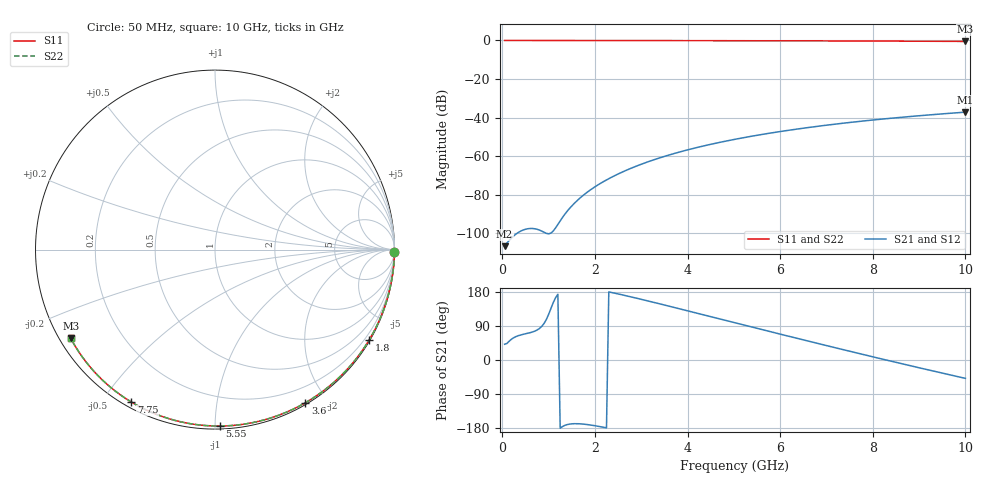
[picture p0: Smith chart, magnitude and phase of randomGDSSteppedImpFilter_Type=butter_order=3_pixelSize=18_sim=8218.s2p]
! freq	dB(S11)	phase(S11)	dB(S12)	phase(S12)
!  dB(S21)	phase(S21)	dB(S22)	phase(S22)
!S-par simulation data
#  GHz  S  DB  R 50
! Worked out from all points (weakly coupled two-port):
!   200 points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, 50 MHz to 10 GHz, reference 50 ohm
!   highest |S21| = -37.20 dB at 10 GHz (marker M1); lowest = -106.8 dB at 50 MHz (marker M2)
!   lowest |S11| = -0.5 dB at 10 GHz (marker M3), VSWR 34.47, Z = 1.57 - j14.1 ohm
!   |S11| at or under -10 dB: nowhere
!   |S22| runs from -0.5 to 0.0 dB; largest |S21 - S12| = 0
!   S11 on the Smith chart (normalised r, x): 50 MHz: open; 1.8 GHz: 0.03, -3.67; 3.6 GHz: 0.02, -1.75; 5.55 GHz: 0.02, -1.03; 7.75 GHz: 0.02, -0.59; 10 GHz: 0.03, -0.28
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0.05  -0.00 -0.9  -106.76 41.6  -106.76 41.6  -0.00 -0.9
0.45  -0.01 -7.7  -98.38 67.7  -98.38 67.7  -0.01 -7.7
0.9  -0.02 -15.4  -99.54 96.0  -99.54 96.0  -0.02 -15.4
1.3  -0.03 -22.1  -91.85 -175.6  -91.85 -175.6  -0.03 -22.1
1.75  -0.04 -29.7  -80.31 -169.2  -80.31 -169.2  -0.04 -29.7
1.8  -0.04 -30.5  -79.36 -169.8  -79.36 -169.8  -0.04 -30.5
1.95  -0.04 -33.0  -76.76 -172.4  -76.76 -172.4  -0.04 -33.0
2.1  -0.05 -35.4  -74.46 -175.5  -74.46 -175.5  -0.05 -35.4
2.3  -0.05 -38.7  -71.72 179.7  -71.72 179.7  -0.05 -38.7
2.5  -0.05 -42.0  -69.31 174.4  -69.31 174.4  -0.05 -42.0
2.9  -0.06 -48.4  -65.16 163.1  -65.16 163.1  -0.06 -48.4
3.4  -0.08 -56.3  -60.92 148.2  -60.92 148.2  -0.08 -56.3
3.6  -0.08 -59.4  -59.44 142.1  -59.44 142.1  -0.08 -59.4
4.3  -0.10 -70.2  -55.00 120.6  -55.00 120.6  -0.10 -70.2
5.05  -0.13 -81.3  -51.17 97.4  -51.17 97.4  -0.13 -81.3
5.55  -0.15 -88.5  -49.01 82.0  -49.01 82.0  -0.15 -88.5
6.1  -0.17 -96.3  -46.91 65.2  -46.91 65.2  -0.17 -96.3
6.7  -0.20 -104.6  -44.89 47.1  -44.89 47.1  -0.20 -104.6
7.75  -0.28 -118.7  -41.91 15.7  -41.91 15.7  -0.28 -118.7
8.35  -0.33 -126.7  -40.46 -1.8  -40.46 -1.8  -0.33 -126.7
9.2  -0.41 -137.8  -38.67 -26.2  -38.67 -26.2  -0.41 -137.8
10  -0.50 -148.4  -37.20 -48.4  -37.20 -48.4  -0.50 -148.4
